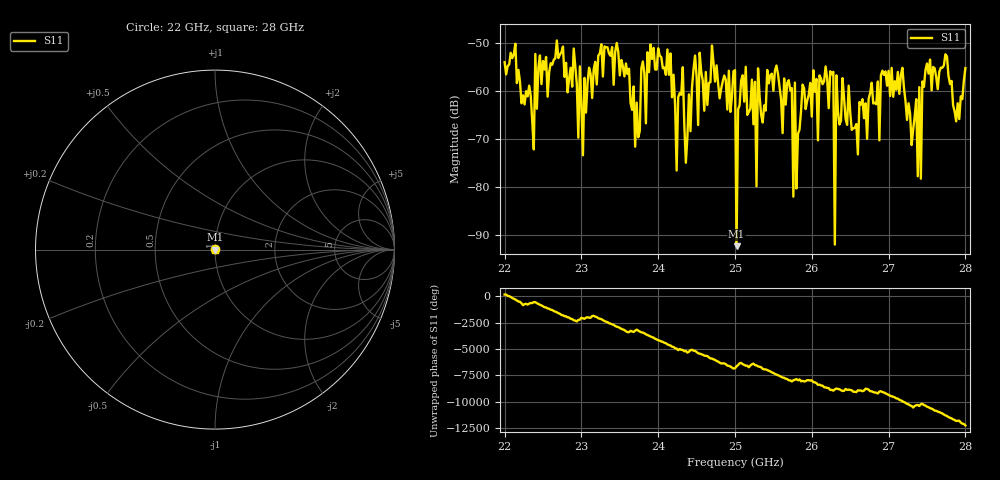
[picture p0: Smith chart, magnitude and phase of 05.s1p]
#  HZ  S  RI  R  50.00
! Rohde & Schwarz ZVA40 4Ports - Version 3.90 - 1145.1110k42 SN: 100403
! Date: 2023-10-04 11:47:13
! Measurement: S12
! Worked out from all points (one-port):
!   301 points, 22 GHz to 28 GHz, reference 50 ohm
!   lowest |S11| = -92.3 dB at 25.02 GHz (marker M1), VSWR 1.00, Z = 50 - j0.000207 ohm
!   |S11| at or under -10 dB: start of sweep to end of sweep
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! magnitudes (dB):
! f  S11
! 22 GHz  -54.0
! 22.38 GHz  -72.1
! 22.4 GHz  -52.2
! 22.76 GHz  -50.7
! 23.02 GHz  -73.3
! 23.5 GHz  -56.7
! 24.26 GHz  -61.3
! 25 GHz  -55.6
! 25.02 GHz  -92.3
! 25.1 GHz  -56.7
! 25.26 GHz  -58.0
! 25.28 GHz  -79.8
! 25.3 GHz  -55.2
! 25.54 GHz  -54.7
! 25.74 GHz  -59.3
! 25.76 GHz  -81.9
! 25.78 GHz  -58.2
! 25.8 GHz  -80.2
! 25.88 GHz  -58.6
! 26.28 GHz  -56.0
! 26.3 GHz  -91.9
! 26.32 GHz  -56.7
! 26.5 GHz  -64.3
! 27.26 GHz  -62.5
! 27.4 GHz  -59.2
! 27.42 GHz  -78.2
! 27.5 GHz  -54.2
! 28 GHz  -55.2
